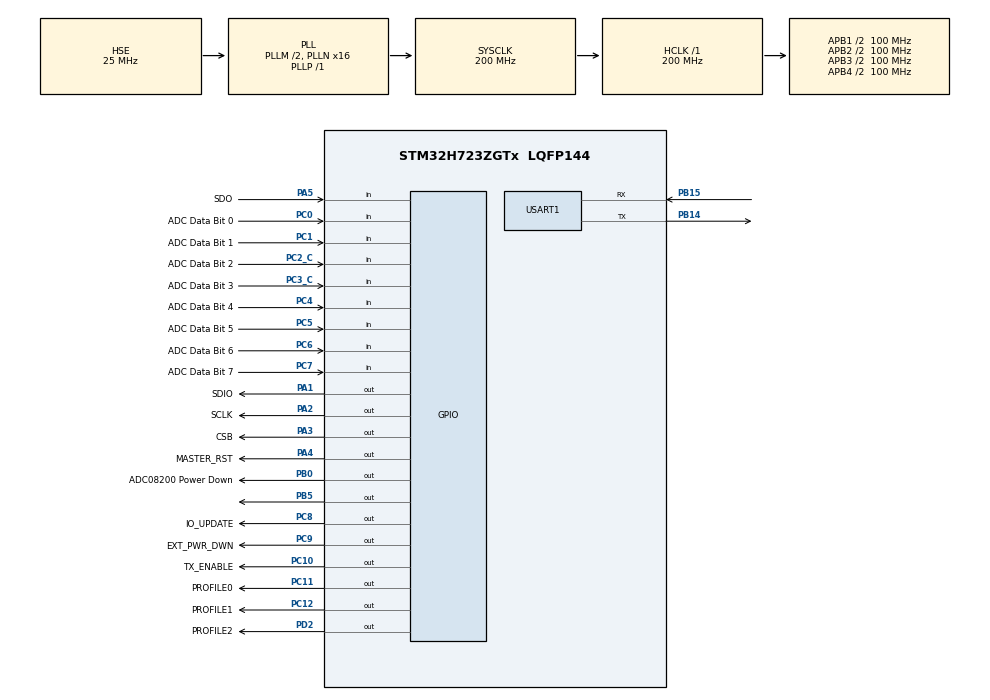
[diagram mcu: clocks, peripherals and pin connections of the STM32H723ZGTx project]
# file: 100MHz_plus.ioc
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CORTEX_M7.default_mode_Activation=1
Mcu.Family=STM32H7
Mcu.Name=STM32H723ZGTx
Mcu.Package=LQFP144
NVIC.PriorityGroup=NVIC_PRIORITYGROUP_4
NVIC.USART1_IRQn=true\:0\:0\:false\:false\:true\:true\:true\:true
PA1.GPIO_Label=SDIO
PA1.Signal=GPIO_Output
PA2.GPIO_Label=SCLK
PA2.Signal=GPIO_Output
PA3.GPIO_Label=CSB
PA3.Signal=GPIO_Output
PA4.GPIO_Label=MASTER_RST
PA4.Signal=GPIO_Output
PA5.GPIO_Label=SDO
PA5.Signal=GPIO_Input
PB0.GPIO_Label=ADC08200 Power Down
PB0.Signal=GPIO_Output
PB14.Mode=Asynchronous
PB14.Signal=USART1_TX
PB15.Mode=Asynchronous
PB15.Signal=USART1_RX
PB5.Signal=GPIO_Output
PC0.GPIO_Label=ADC Data Bit 0
PC0.Signal=GPIO_Input
PC1.GPIO_Label=ADC Data Bit 1 
PC1.Signal=GPIO_Input
PC10.GPIO_Label=TX_ENABLE
PC10.Signal=GPIO_Output
PC11.GPIO_Label=PROFILE0
PC11.Signal=GPIO_Output
PC12.GPIO_Label=PROFILE1
PC12.Signal=GPIO_Output
PC2_C.GPIO_Label=ADC Data Bit 2
PC2_C.Signal=GPIO_Input
PC3_C.GPIO_Label=ADC Data Bit 3
PC3_C.Signal=GPIO_Input
PC4.GPIO_Label=ADC Data Bit 4
PC4.Signal=GPIO_Input
PC5.GPIO_Label=ADC Data Bit 5
PC5.Signal=GPIO_Input
PC6.GPIO_Label=ADC Data Bit 6
PC6.Signal=GPIO_Input
PC7.GPIO_Label=ADC Data Bit 7
PC7.Signal=GPIO_Input
PC8.GPIO_Label=IO_UPDATE
PC8.Signal=GPIO_Output
PC9.GPIO_Label=EXT_PWR_DWN
PC9.Signal=GPIO_Output
PD2.GPIO_Label=PROFILE2
PD2.Signal=GPIO_Output
PH0-OSC_IN.Mode=HSE-External-Oscillator
PH0-OSC_IN.Signal=RCC_OSC_IN
PH1-OSC_OUT.Mode=HSE-External-Oscillator
PH1-OSC_OUT.Signal=RCC_OSC_OUT
ProjectManager.HeapSize=0x200
ProjectManager.StackSize=0x400
ProjectManager.TargetToolchain=STM32CubeIDE
RCC.ADCFreq_Value=50390625
RCC.APB1Freq_Value=100000000
RCC.APB2Freq_Value=100000000
RCC.APB3Freq_Value=100000000
RCC.APB4Freq_Value=100000000
RCC.CortexFreq_Value=200000000
RCC.D1PPRE=RCC_APB3_DIV2
RCC.D2PPRE1=RCC_APB1_DIV2
RCC.D2PPRE2=RCC_APB2_DIV2
RCC.D3PPRE=RCC_APB4_DIV2
RCC.DIVM1=2
RCC.DIVN1=16
RCC.DIVP1=1
RCC.HCLKFreq_Value=200000000
RCC.PLLFRACN=0
RCC.PLLSourceVirtual=RCC_PLLSOURCE_HSE
RCC.SYSCLKFreq_VALUE=200000000
RCC.SYSCLKSource=RCC_SYSCLKSOURCE_PLLCLK
RCC.USBFreq_Value=100000000
TIM1.Period=65535
TIM1.Prescaler=540-1
USART1.VirtualMode-Asynchronous=VM_ASYNC
VP_MEMORYMAP_VS_MEMORYMAP.Mode=CurAppReg
VP_TIM1_VS_ClockSourceINT.Mode=Internal
board=custom

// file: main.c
/* USER CODE BEGIN Header */
/**
  ******************************************************************************
  * @file           : main.c
  * @brief          : Main program body
  ******************************************************************************
  * @attention
  *
  * Copyright (c) 2025 STMicroelectronics.
  * All rights reserved.
  *
  * This software is licensed under terms that can be found in the LICENSE file
  * in the root directory of this software component.
  * If no LICENSE file comes with this software, it is provided AS-IS.
  *
  ******************************************************************************
  */
/* USER CODE END Header */
#include "main.h"
#include "memorymap.h"
#include "tim.h"
#include "usart.h"
#include "gpio.h"

/* USER CODE BEGIN Includes */

#include "ad9910.h"
#include "adc08200.h"
#include "uart_transfer.h"
//#include "usart.h"

/* USER CODE END Includes */

void SystemClock_Config(void);
static void MPU_Config(void);

/* USER CODE BEGIN 0 */
//void delay_ns(uint32_t ns)
//{
//    uint32_t cycles = (SystemCoreClock / 1000000000) * ns; // Calculate cycles for given ns
//    uint32_t start = DWT->CYCCNT;
//    while ((DWT->CYCCNT - start) < cycles);
//}

/* USER CODE END 0 */

int main(void)
{

  /* MPU Configuration--------------------------------------------------------*/
  MPU_Config();

  /* MCU Configuration--------------------------------------------------------*/

  /* Reset of all peripherals, Initializes the Flash interface and the Systick. */
  HAL_Init();

  /* Configure the system clock */
  SystemClock_Config();

  /* Initialize all configured peripherals */
  MX_GPIO_Init();
  MX_TIM1_Init();
  MX_USART1_UART_Init();
  /* USER CODE BEGIN 2 */
  // Start PWM on TIM1 Channel 1 (PE9)
  HAL_TIM_PWM_Start(&htim1, TIM_CHANNEL_1);

  // Set duty cycle (50% of Period=4, so Pulse=2)
  __HAL_TIM_SET_COMPARE(&htim1, TIM_CHANNEL_1, 2);

  AD9910_Init();
  HAL_Delay(10);

#ifndef USE_BIDIRECTIONAL
    // Set SDIO input-only mode
    uint8_t reg0[] = { 0x00, 0x00, 0x00, 0x02 };
    AD9910_WriteRegister(0x00, 4, reg0);
    HAL_GPIO_WritePin(IO_UPDATE_GPIO_Port, IO_UPDATE_Pin, GPIO_PIN_SET);
     AD9910_DelayUs(10);
    HAL_GPIO_WritePin(IO_UPDATE_GPIO_Port, IO_UPDATE_Pin, GPIO_PIN_RESET);
     AD9910_DelayUs(10);
#endif

    // Configure PLL: N = 25, input = 40 MHz → 1 GHz output
    uint8_t cfr3[4] = { 0x05, 0x3f, 0xc1, 25 << 1 };
     AD9910_WriteRegister(0x02, 4, cfr3);

    // Generate and write profile for 200 MHz output
    uint8_t profile[8];
    AD9910_CreateProfile(0.2, 0, 0, profile);
    AD9910_WriteRegister(0x0e, 8, profile);

    HAL_GPIO_WritePin(IO_UPDATE_GPIO_Port, IO_UPDATE_Pin, GPIO_PIN_SET);
    AD9910_DelayUs(10);
    HAL_GPIO_WritePin(IO_UPDATE_GPIO_Port, IO_UPDATE_Pin, GPIO_PIN_RESET);
    AD9910_DelayUs(10);

    HAL_GPIO_WritePin(TX_ENABLE_GPIO_Port, TX_ENABLE_Pin, GPIO_PIN_SET);

    // --- Initialize and Power On ADC08200 ---
    ADC08200_GPIO_Init();
    ADC08200_PowerOn();

    // --- Manual Sampling from ADC ---
    ADC08200_SampleManual();

    // uart transfer
    ADC08200_SampleManual();
    UART_Send_ADC_Data();

  /* USER CODE END 2 */

  /* Infinite loop */
    while(1){
  /* USER CODE BEGIN WHILE */
    // PWM running...
    /* USER CODE END WHILE */

  }
}

void SystemClock_Config(void)
{
  RCC_OscInitTypeDef RCC_OscInitStruct = {0};
  RCC_ClkInitTypeDef RCC_ClkInitStruct = {0};

  /** Supply configuration update enable
  */
  HAL_PWREx_ConfigSupply(PWR_LDO_SUPPLY);

  /** Configure the main internal regulator output voltage
  */
  __HAL_PWR_VOLTAGESCALING_CONFIG(PWR_REGULATOR_VOLTAGE_SCALE1);

  while(!__HAL_PWR_GET_FLAG(PWR_FLAG_VOSRDY)) {}

  /** Initializes the RCC Oscillators according to the specified parameters
  * in the RCC_OscInitTypeDef structure.
  */
  RCC_OscInitStruct.OscillatorType = RCC_OSCILLATORTYPE_HSE;
  RCC_OscInitStruct.HSEState = RCC_HSE_ON;
  RCC_OscInitStruct.PLL.PLLState = RCC_PLL_ON;
  RCC_OscInitStruct.PLL.PLLSource = RCC_PLLSOURCE_HSE;
  RCC_OscInitStruct.PLL.PLLM = 2;
  RCC_OscInitStruct.PLL.PLLN = 16;
  RCC_OscInitStruct.PLL.PLLP = 1;
  RCC_OscInitStruct.PLL.PLLQ = 2;
  RCC_OscInitStruct.PLL.PLLR = 2;
  RCC_OscInitStruct.PLL.PLLRGE = RCC_PLL1VCIRANGE_3;
  RCC_OscInitStruct.PLL.PLLVCOSEL = RCC_PLL1VCOWIDE;
  RCC_OscInitStruct.PLL.PLLFRACN = 0;
  if (HAL_RCC_OscConfig(&RCC_OscInitStruct) != HAL_OK)
  {
    Error_Handler();
  }

  /** Initializes the CPU, AHB and APB buses clocks
  */
  RCC_ClkInitStruct.ClockType = RCC_CLOCKTYPE_HCLK|RCC_CLOCKTYPE_SYSCLK
                              |RCC_CLOCKTYPE_PCLK1|RCC_CLOCKTYPE_PCLK2
                              |RCC_CLOCKTYPE_D3PCLK1|RCC_CLOCKTYPE_D1PCLK1;
  RCC_ClkInitStruct.SYSCLKSource = RCC_SYSCLKSOURCE_PLLCLK;
  RCC_ClkInitStruct.SYSCLKDivider = RCC_SYSCLK_DIV1;
  RCC_ClkInitStruct.AHBCLKDivider = RCC_HCLK_DIV1;
  RCC_ClkInitStruct.APB3CLKDivider = RCC_APB3_DIV2;
  RCC_ClkInitStruct.APB1CLKDivider = RCC_APB1_DIV2;
  RCC_ClkInitStruct.APB2CLKDivider = RCC_APB2_DIV2;
  RCC_ClkInitStruct.APB4CLKDivider = RCC_APB4_DIV2;

  if (HAL_RCC_ClockConfig(&RCC_ClkInitStruct, FLASH_LATENCY_2) != HAL_OK)
  {
    Error_Handler();
  }
}

 /* MPU Configuration */

void MPU_Config(void)
{
  MPU_Region_InitTypeDef MPU_InitStruct = {0};

  /* Disables the MPU */
  HAL_MPU_Disable();

  /** Initializes and configures the Region and the memory to be protected
  */
  MPU_InitStruct.Enable = MPU_REGION_ENABLE;
  MPU_InitStruct.Number = MPU_REGION_NUMBER0;
  MPU_InitStruct.BaseAddress = 0x0;
  MPU_InitStruct.Size = MPU_REGION_SIZE_4GB;
  MPU_InitStruct.SubRegionDisable = 0x87;
  MPU_InitStruct.TypeExtField = MPU_TEX_LEVEL0;
  MPU_InitStruct.AccessPermission = MPU_REGION_NO_ACCESS;
  MPU_InitStruct.DisableExec = MPU_INSTRUCTION_ACCESS_DISABLE;
  MPU_InitStruct.IsShareable = MPU_ACCESS_SHAREABLE;
  MPU_InitStruct.IsCacheable = MPU_ACCESS_NOT_CACHEABLE;
  MPU_InitStruct.IsBufferable = MPU_ACCESS_NOT_BUFFERABLE;

  HAL_MPU_ConfigRegion(&MPU_InitStruct);
  /* Enables the MPU */
  HAL_MPU_Enable(MPU_PRIVILEGED_DEFAULT);

}

void Error_Handler(void)
{
  __disable_irq();
  while (1)
  {
  }
}
